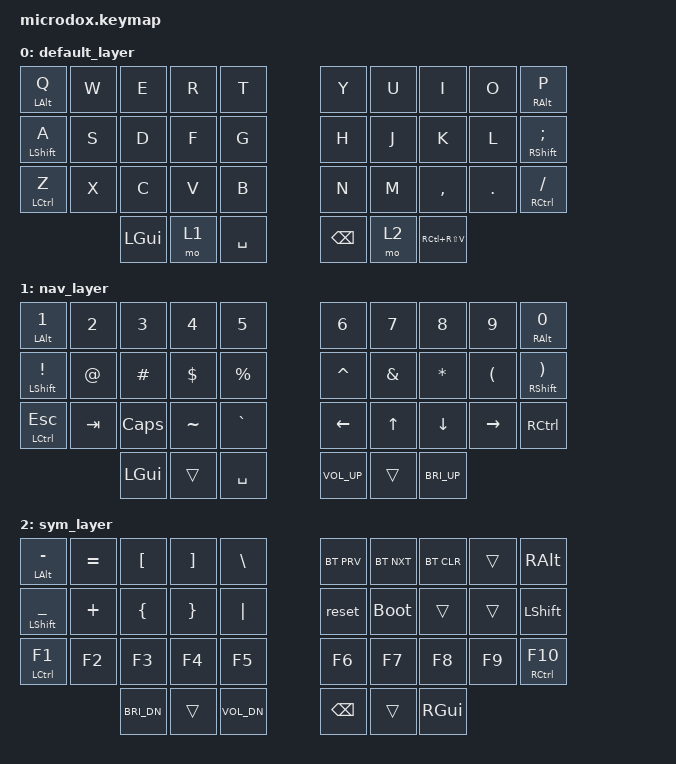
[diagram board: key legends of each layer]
/*
 * Copyright (c) 2020 The ZMK Contributors
 *
 * SPDX-License-Identifier: MIT
 */

#include <behaviors.dtsi>
#include <dt-bindings/zmk/keys.h>
#include <dt-bindings/zmk/bt.h>

&mt {
    quick_tap_ms = <300>;
    retro-tap;
};

 / {
    combos {
        compatible = "zmk,combos";
        combo_ent {
            timeout-ms = <50>;
            key-positions = <3 6>;
            bindings = <&kp ENTER>;
        };
        combo_quote {
            timeout-ms = <50>;
            key-positions = <14 15>;
            bindings = <&kp SQT>;
        };
        combo_ques {
            timeout-ms = <50>;
            key-positions = <23 26>;
            bindings = <&kp QUESTION>;
        };
        combo_dquote {
            timeout-ms = <50>;
            key-positions = <22 26>;
            bindings = <&kp DQT>;
        };
        combo_col {
            timeout-ms = <50>;
            key-positions = <4 5>;
            bindings = <&kp COLON>;
        };
        combo_unds {
            timeout-ms = <50>;
            key-positions = <24 25>;
            bindings = <&kp UNDER>;
        };
        combo_mins {
            timeout-ms = <50>;
            key-positions = <13 16>;
            bindings = <&kp MINUS>; 
        };
    };
};

/ {
        keymap {
                compatible = "zmk,keymap";
                default_layer {
                        bindings = <
   &mt LALT Q  &kp W &kp E &kp R &kp T   &kp Y &kp U  &kp I     &kp O   &mt RALT P
   &mt LSHFT A &kp S &kp D &kp F &kp G   &kp H &kp J  &kp K     &kp L   &mt RSHFT SEMI
   &mt LCTL Z  &kp X &kp C &kp V &kp B   &kp N &kp M  &kp COMMA &kp DOT &mt RCTL FSLH
          &kp LGUI &mo 1 &kp SPACE &kp BSPC &mo 2 &kp RC(RS(V))
                        >;
                };
                nav_layer {
                        bindings = <
   &mt LALT N1    &kp N2   &kp N3     &kp N4     &kp N5         &kp N6    &kp N7        &kp N8     &kp N9    &mt RALT N0
   &mt LSHFT EXCL &kp AT   &kp HASH   &kp DLLR   &kp PRCNT      &kp CARET &kp AMPERSAND &kp ASTRK  &kp LPAR  &mt RSHFT RPAR
   &mt LCTL ESC   &kp TAB  &kp CAPS   &kp TILDE  &kp GRAVE      &kp LEFT  &kp UP        &kp DOWN   &kp RIGHT &kp RCTL
                            &kp LGUI   &trans    &kp SPACE      &kp C_VOL_UP   &trans   &kp C_BRI_UP
                        >;
                };
                sym_layer {
                        bindings = <
   &mt LALT MINUS  &kp EQUAL &kp LBKT &kp RBKT &kp BSLH     &bt BT_PRV &bt BT_NXT  &bt BT_CLR &trans &kp RALT
   &mt LSHFT UNDER &kp PLUS  &kp LBRC &kp RBRC &kp PIPE     &reset     &bootloader &trans     &trans &kp LSHFT
   &mt LCTL F1     &kp F2    &kp F3   &kp F4   &kp F5       &kp F6     &kp F7      &kp F8     &kp F9 &mt RCTL F10
                       &kp C_BRI_DN  &trans    &kp C_VOL_DN   &kp BSPC   &trans    &kp RGUI
                        >;
                };
        };
};
